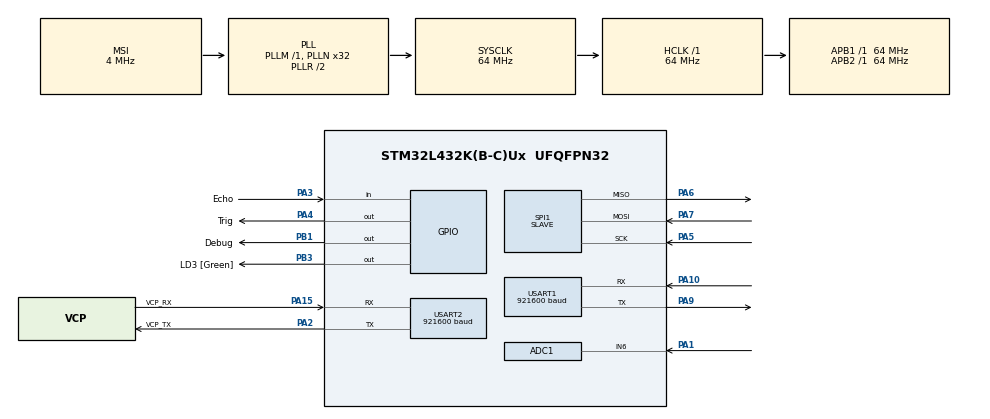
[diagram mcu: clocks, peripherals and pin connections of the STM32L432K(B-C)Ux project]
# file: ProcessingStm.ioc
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ADC1.Channel-0\#ChannelRegularConversion=ADC_CHANNEL_6
ADC1.NbrOfConversionFlag=1
ADC1.OffsetNumber-0\#ChannelRegularConversion=ADC_OFFSET_NONE
ADC1.Rank-0\#ChannelRegularConversion=1
ADC1.Resolution=ADC_RESOLUTION_8B
ADC1.SamplingTime-0\#ChannelRegularConversion=ADC_SAMPLETIME_2CYCLES_5
ADC1.ScanConvMode-ADC_Settings=ADC_SCAN_ENABLE
ADC1.master=1
Dma.Request0=USART2_TX
Dma.USART2_TX.0.Direction=DMA_MEMORY_TO_PERIPH
Dma.USART2_TX.0.Instance=DMA1_Channel7
Dma.USART2_TX.0.MemDataAlignment=DMA_MDATAALIGN_BYTE
Dma.USART2_TX.0.MemInc=DMA_MINC_ENABLE
Dma.USART2_TX.0.Mode=DMA_NORMAL
Dma.USART2_TX.0.PeriphDataAlignment=DMA_PDATAALIGN_BYTE
Dma.USART2_TX.0.PeriphInc=DMA_PINC_DISABLE
Dma.USART2_TX.0.Priority=DMA_PRIORITY_LOW
Mcu.Family=STM32L4
Mcu.Name=STM32L432K(B-C)Ux
Mcu.Package=UFQFPN32
NVIC.DMA1_Channel7_IRQn=true\:0\:0\:false\:false\:true\:false\:true\:true
NVIC.PriorityGroup=NVIC_PRIORITYGROUP_4
NVIC.SPI1_IRQn=true\:0\:0\:false\:false\:true\:true\:true\:true
NVIC.USART2_IRQn=true\:0\:0\:false\:false\:true\:true\:true\:true
PA0.GPIO_Label=MCO [High speed clock in]
PA0.Mode=HSE-External-Clock-Source-for-LittleOrca
PA0.Signal=RCC_CK_IN
PA1.Signal=ADCx_IN6
PA10.Mode=Asynchronous
PA10.Signal=USART1_RX
PA13\ (JTMS-SWDIO).GPIO_Label=SWDIO
PA13\ (JTMS-SWDIO).Mode=Serial_Wire
PA13\ (JTMS-SWDIO).Signal=SYS_JTMS-SWDIO
PA14\ (JTCK-SWCLK).GPIO_Label=SWCLK
PA14\ (JTCK-SWCLK).Mode=Serial_Wire
PA14\ (JTCK-SWCLK).Signal=SYS_JTCK-SWCLK
PA15\ (JTDI).GPIO_Label=VCP_RX
PA15\ (JTDI).Mode=Asynchronous
PA15\ (JTDI).Signal=USART2_RX
PA2.GPIO_Label=VCP_TX
PA2.Mode=Asynchronous
PA2.Signal=USART2_TX
PA3.GPIO_Label=Echo
PA3.Signal=GPIO_Input
PA4.GPIO_Label=Trig
PA4.Signal=GPIO_Output
PA5.Mode=Full_Duplex_Slave
PA5.Signal=SPI1_SCK
PA6.Mode=Full_Duplex_Slave
PA6.Signal=SPI1_MISO
PA7.Mode=Full_Duplex_Slave
PA7.Signal=SPI1_MOSI
PA9.Mode=Asynchronous
PA9.Signal=USART1_TX
PB1.GPIO_Label=Debug
PB1.Signal=GPIO_Output
PB3\ (JTDO-TRACESWO).GPIO_Label=LD3 [Green]
PB3\ (JTDO-TRACESWO).Signal=GPIO_Output
PC14-OSC32_IN\ (PC14).Mode=LSE-External-Oscillator
PC14-OSC32_IN\ (PC14).Signal=RCC_OSC32_IN
PC15-OSC32_OUT\ (PC15).Mode=LSE-External-Oscillator
PC15-OSC32_OUT\ (PC15).Signal=RCC_OSC32_OUT
ProjectManager.HeapSize=0x200
ProjectManager.StackSize=0x400
ProjectManager.TargetToolchain=STM32CubeIDE
RCC.ADCFreq_Value=32000000
RCC.AHBFreq_Value=64000000
RCC.APB1Freq_Value=64000000
RCC.APB1TimFreq_Value=64000000
RCC.APB2Freq_Value=64000000
RCC.APB2TimFreq_Value=64000000
RCC.CortexFreq_Value=64000000
RCC.HCLKFreq_Value=64000000
RCC.HSE_VALUE=8000000
RCC.HSI16_VALUE=16000000
RCC.HSI48_VALUE=48000000
RCC.HSI_VALUE=16000000
RCC.MSI_VALUE=4000000
RCC.PLLMUL=RCC_PLLMUL_4
RCC.PLLN=32
RCC.PLLSAI1N=16
RCC.SYSCLKFreq_VALUE=64000000
RCC.SYSCLKSource=RCC_SYSCLKSOURCE_PLLCLK
RCC.USBFreq_Value=32000000
RCC.VCOOutputFreq_Value=128000000
SH.ADCx_IN6.0=ADC1_IN6,IN6-Single-Ended
SPI1.DataSize=SPI_DATASIZE_8BIT
SPI1.Direction=SPI_DIRECTION_2LINES
SPI1.Mode=SPI_MODE_SLAVE
SPI1.VirtualType=VM_SLAVE
TIM16.Prescaler=31
USART1.BaudRate=921600
USART1.VirtualMode-Asynchronous=VM_ASYNC
USART2.BaudRate=921600
USART2.VirtualMode-Asynchronous=VM_ASYNC
VP_TIM16_VS_ClockSourceINT.Mode=Enable_Timer
board=NUCLEO-L432KC

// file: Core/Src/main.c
/* USER CODE BEGIN Header */
/**
  ******************************************************************************
  * @file           : main.c
  * @brief          : Main program body
  ******************************************************************************
  * @attention
  *
  * Copyright (c) 2025 STMicroelectronics.
  * All rights reserved.
  *
  * This software is licensed under terms that can be found in the LICENSE file
  * in the root directory of this software component.
  * If no LICENSE file comes with this software, it is provided AS-IS.
  *
  ******************************************************************************
  */
/* USER CODE END Header */
#include "main.h"

ADC_HandleTypeDef hadc1;

SPI_HandleTypeDef hspi1;

TIM_HandleTypeDef htim16;

UART_HandleTypeDef huart1;
UART_HandleTypeDef huart2;
DMA_HandleTypeDef hdma_usart2_tx;

void SystemClock_Config(void);
static void MX_GPIO_Init(void);
static void MX_DMA_Init(void);
static void MX_USART2_UART_Init(void);
static void MX_USART1_UART_Init(void);
static void MX_ADC1_Init(void);
static void MX_TIM16_Init(void);
static void MX_SPI1_Init(void);

/* USER CODE BEGIN 0 */

uint8_t rxBuffer[1] = {0};
uint8_t prevBuffer[3] = {0};

uint8_t rxBuffer2[3] = {0};

uint16_t sample;

uint8_t operatingMode = 1; // 1 = manual triggering, 2 = distance triggering

uint8_t distanceSetting = 10; // init to 10

uint8_t distanceSend = 0;

#define MANUAL_MODE 0x8F
#define DISTANCE_MODE 0x90

void HAL_UART_RxCpltCallback(UART_HandleTypeDef *huart)
{
	if (huart->Instance == USART1)
	{
		/*HAL_UART_Transmit(&huart2, rxBuffer, 1, HAL_MAX_DELAY);
		HAL_UART_Receive_IT(&huart1, rxBuffer, 1);*/
	}
	else if (huart->Instance == USART2)
	{
		//HAL_GPIO_TogglePin(LD3_GPIO_Port, LD3_Pin);

		if (rxBuffer2[1] == DISTANCE_MODE)
		{
			distanceSetting = rxBuffer2[2];
			operatingMode = 2;
		}

		else if (rxBuffer2[1] == MANUAL_MODE)
		{
			operatingMode = 1;
		}

		HAL_UART_Receive_IT(&huart2, rxBuffer2, 3);

	}
}
uint8_t sendBuffer;
uint8_t uartReady = 1;

void HAL_UART_TxCpltCallback(UART_HandleTypeDef *huart)
{

	//HAL_GPIO_TogglePin(LD3_GPIO_Port, LD3_Pin);
	/*sendBuffer = (prevBuffer[0] + prevBuffer[1] + prevBuffer[2] + rxBuffer[0])/4; // average last four samples
	prevBuffer[2] = prevBuffer[1];
	prevBuffer[1] = prevBuffer[0];
	prevBuffer[0] = rxBuffer[0];*/

	sendBuffer = (prevBuffer[0] + rxBuffer[0])/2; // average last four samples
		prevBuffer[0] = rxBuffer[0];

	uartReady = 1;
}

void HAL_SPI_RxCpltCallback(SPI_HandleTypeDef * hspi)
{
	Debug_GPIO_Port->ODR ^= Debug_Pin;

	if (rxBuffer[0] < 100 || rxBuffer[0] > 3000)
	{
		HAL_SPI_Receive_IT(&hspi1, rxBuffer, 1);
		return;
	}

	if (operatingMode == 2 && uartReady)
	{
		//sendBuffer[0] = rxBuffer[0] * distanceSend;
		//sendBuffer[1] = rxBuffer[1] * distanceSend;
		uartReady = 0;
		sendBuffer *= distanceSend;
		HAL_UART_Transmit_IT(&huart2, &sendBuffer, 1);
	}

	else
	{
		HAL_UART_Transmit_IT(&huart2, &sendBuffer, 1);
	}
	//HAL_GPIO_TogglePin(LD3_GPIO_Port,LD3_Pin);
	HAL_SPI_Receive_IT(&hspi1, rxBuffer, 1);
}

/* USER CODE END 0 */

int main(void)
{

  /* MCU Configuration--------------------------------------------------------*/

  /* Reset of all peripherals, Initializes the Flash interface and the Systick. */
  HAL_Init();

  /* Configure the system clock */
  SystemClock_Config();

  /* Initialize all configured peripherals */
  MX_GPIO_Init();
  MX_DMA_Init();
  MX_USART2_UART_Init();
  MX_USART1_UART_Init();
  MX_ADC1_Init();
  MX_TIM16_Init();
  MX_SPI1_Init();
  /* USER CODE BEGIN 2 */

  //HAL_UART_Receive_IT (&huart1, rxBuffer, 1);
  HAL_SPI_Receive_IT(&hspi1, rxBuffer, 1);
  HAL_UART_Receive_IT (&huart2, rxBuffer2, 3);

  /* USER CODE END 2 */

  /* Infinite loop */
  /* USER CODE BEGIN WHILE */

  uint16_t period;
  uint16_t distance;
  HAL_TIM_Base_Start(&htim16);

  while (1)
  {
    /* USER CODE END WHILE */

    /* USER CODE BEGIN 3 */
	  // Task 2
	  if (operatingMode == 2)
	  {
	  	  __HAL_TIM_SET_COUNTER(&htim16,0);
	  	  HAL_GPIO_WritePin(Trig_GPIO_Port,Trig_Pin,1);
	  	  while (__HAL_TIM_GET_COUNTER(&htim16)<10);

	  	  HAL_GPIO_WritePin(Trig_GPIO_Port,Trig_Pin,0);

	  	  while (HAL_GPIO_ReadPin(Echo_GPIO_Port,Echo_Pin)==0);

	  	  __HAL_TIM_SET_COUNTER(&htim16,0);

	  	  while (HAL_GPIO_ReadPin(Echo_GPIO_Port,Echo_Pin)==1);

	  	  period = __HAL_TIM_GET_COUNTER(&htim16);

	  	  distance = period/58.3;

	  	  if (distance < distanceSetting){
	  		  distanceSend = 1;
	  		  HAL_GPIO_WritePin(LD3_GPIO_Port,LD3_Pin,1);

	  	  }else{
	  		  distanceSend = 0;
	  		  HAL_GPIO_WritePin(LD3_GPIO_Port,LD3_Pin,0);
	  	  }

	  	  HAL_Delay(60);
	  }
	  else if (operatingMode == 1)
	  {
		  //HAL_GPIO_WritePin(LD3_GPIO_Port, LD3_Pin, 1);
	  }
  }
  /* USER CODE END 3 */
}

void SystemClock_Config(void)
{
  RCC_OscInitTypeDef RCC_OscInitStruct = {0};
  RCC_ClkInitTypeDef RCC_ClkInitStruct = {0};

  /** Configure the main internal regulator output voltage
  */
  if (HAL_PWREx_ControlVoltageScaling(PWR_REGULATOR_VOLTAGE_SCALE1) != HAL_OK)
  {
    Error_Handler();
  }

  /** Configure LSE Drive Capability
  */
  HAL_PWR_EnableBkUpAccess();
  __HAL_RCC_LSEDRIVE_CONFIG(RCC_LSEDRIVE_LOW);

  /** Initializes the RCC Oscillators according to the specified parameters
  * in the RCC_OscInitTypeDef structure.
  */
  RCC_OscInitStruct.OscillatorType = RCC_OSCILLATORTYPE_LSE|RCC_OSCILLATORTYPE_MSI;
  RCC_OscInitStruct.LSEState = RCC_LSE_ON;
  RCC_OscInitStruct.MSIState = RCC_MSI_ON;
  RCC_OscInitStruct.MSICalibrationValue = 0;
  RCC_OscInitStruct.MSIClockRange = RCC_MSIRANGE_6;
  RCC_OscInitStruct.PLL.PLLState = RCC_PLL_ON;
  RCC_OscInitStruct.PLL.PLLSource = RCC_PLLSOURCE_MSI;
  RCC_OscInitStruct.PLL.PLLM = 1;
  RCC_OscInitStruct.PLL.PLLN = 32;
  RCC_OscInitStruct.PLL.PLLP = RCC_PLLP_DIV7;
  RCC_OscInitStruct.PLL.PLLQ = RCC_PLLQ_DIV2;
  RCC_OscInitStruct.PLL.PLLR = RCC_PLLR_DIV2;
  if (HAL_RCC_OscConfig(&RCC_OscInitStruct) != HAL_OK)
  {
    Error_Handler();
  }

  /** Initializes the CPU, AHB and APB buses clocks
  */
  RCC_ClkInitStruct.ClockType = RCC_CLOCKTYPE_HCLK|RCC_CLOCKTYPE_SYSCLK
                              |RCC_CLOCKTYPE_PCLK1|RCC_CLOCKTYPE_PCLK2;
  RCC_ClkInitStruct.SYSCLKSource = RCC_SYSCLKSOURCE_PLLCLK;
  RCC_ClkInitStruct.AHBCLKDivider = RCC_SYSCLK_DIV1;
  RCC_ClkInitStruct.APB1CLKDivider = RCC_HCLK_DIV1;
  RCC_ClkInitStruct.APB2CLKDivider = RCC_HCLK_DIV1;

  if (HAL_RCC_ClockConfig(&RCC_ClkInitStruct, FLASH_LATENCY_3) != HAL_OK)
  {
    Error_Handler();
  }

  /** Enable MSI Auto calibration
  */
  HAL_RCCEx_EnableMSIPLLMode();
}

static void MX_ADC1_Init(void)
{

  ADC_ChannelConfTypeDef sConfig = {0};

  /** Common config
  */
  hadc1.Instance = ADC1;
  hadc1.Init.ClockPrescaler = ADC_CLOCK_ASYNC_DIV1;
  hadc1.Init.Resolution = ADC_RESOLUTION_8B;
  hadc1.Init.DataAlign = ADC_DATAALIGN_RIGHT;
  hadc1.Init.ScanConvMode = ADC_SCAN_DISABLE;
  hadc1.Init.EOCSelection = ADC_EOC_SINGLE_CONV;
  hadc1.Init.LowPowerAutoWait = DISABLE;
  hadc1.Init.ContinuousConvMode = DISABLE;
  hadc1.Init.NbrOfConversion = 1;
  hadc1.Init.DiscontinuousConvMode = DISABLE;
  hadc1.Init.ExternalTrigConv = ADC_SOFTWARE_START;
  hadc1.Init.ExternalTrigConvEdge = ADC_EXTERNALTRIGCONVEDGE_NONE;
  hadc1.Init.DMAContinuousRequests = DISABLE;
  hadc1.Init.Overrun = ADC_OVR_DATA_PRESERVED;
  hadc1.Init.OversamplingMode = DISABLE;
  if (HAL_ADC_Init(&hadc1) != HAL_OK)
  {
    Error_Handler();
  }

  /** Configure Regular Channel
  */
  sConfig.Channel = ADC_CHANNEL_6;
  sConfig.Rank = ADC_REGULAR_RANK_1;
  sConfig.SamplingTime = ADC_SAMPLETIME_2CYCLES_5;
  sConfig.SingleDiff = ADC_SINGLE_ENDED;
  sConfig.OffsetNumber = ADC_OFFSET_NONE;
  sConfig.Offset = 0;
  if (HAL_ADC_ConfigChannel(&hadc1, &sConfig) != HAL_OK)
  {
    Error_Handler();
  }

}

static void MX_SPI1_Init(void)
{

  /* SPI1 parameter configuration*/
  hspi1.Instance = SPI1;
  hspi1.Init.Mode = SPI_MODE_SLAVE;
  hspi1.Init.Direction = SPI_DIRECTION_2LINES;
  hspi1.Init.DataSize = SPI_DATASIZE_8BIT;
  hspi1.Init.CLKPolarity = SPI_POLARITY_LOW;
  hspi1.Init.CLKPhase = SPI_PHASE_1EDGE;
  hspi1.Init.NSS = SPI_NSS_SOFT;
  hspi1.Init.FirstBit = SPI_FIRSTBIT_MSB;
  hspi1.Init.TIMode = SPI_TIMODE_DISABLE;
  hspi1.Init.CRCCalculation = SPI_CRCCALCULATION_DISABLE;
  hspi1.Init.CRCPolynomial = 7;
  hspi1.Init.CRCLength = SPI_CRC_LENGTH_DATASIZE;
  hspi1.Init.NSSPMode = SPI_NSS_PULSE_DISABLE;
  if (HAL_SPI_Init(&hspi1) != HAL_OK)
  {
    Error_Handler();
  }

}

static void MX_TIM16_Init(void)
{

  htim16.Instance = TIM16;
  htim16.Init.Prescaler = 31;
  htim16.Init.CounterMode = TIM_COUNTERMODE_UP;
  htim16.Init.Period = 65535;
  htim16.Init.ClockDivision = TIM_CLOCKDIVISION_DIV1;
  htim16.Init.RepetitionCounter = 0;
  htim16.Init.AutoReloadPreload = TIM_AUTORELOAD_PRELOAD_DISABLE;
  if (HAL_TIM_Base_Init(&htim16) != HAL_OK)
  {
    Error_Handler();
  }

}

static void MX_USART1_UART_Init(void)
{

  huart1.Instance = USART1;
  huart1.Init.BaudRate = 921600;
  huart1.Init.WordLength = UART_WORDLENGTH_8B;
  huart1.Init.StopBits = UART_STOPBITS_1;
  huart1.Init.Parity = UART_PARITY_NONE;
  huart1.Init.Mode = UART_MODE_TX_RX;
  huart1.Init.HwFlowCtl = UART_HWCONTROL_NONE;
  huart1.Init.OverSampling = UART_OVERSAMPLING_16;
  huart1.Init.OneBitSampling = UART_ONE_BIT_SAMPLE_DISABLE;
  huart1.AdvancedInit.AdvFeatureInit = UART_ADVFEATURE_NO_INIT;
  if (HAL_UART_Init(&huart1) != HAL_OK)
  {
    Error_Handler();
  }

}

static void MX_USART2_UART_Init(void)
{

  huart2.Instance = USART2;
  huart2.Init.BaudRate = 921600;
  huart2.Init.WordLength = UART_WORDLENGTH_8B;
  huart2.Init.StopBits = UART_STOPBITS_1;
  huart2.Init.Parity = UART_PARITY_NONE;
  huart2.Init.Mode = UART_MODE_TX_RX;
  huart2.Init.HwFlowCtl = UART_HWCONTROL_NONE;
  huart2.Init.OverSampling = UART_OVERSAMPLING_16;
  huart2.Init.OneBitSampling = UART_ONE_BIT_SAMPLE_DISABLE;
  huart2.AdvancedInit.AdvFeatureInit = UART_ADVFEATURE_NO_INIT;
  if (HAL_UART_Init(&huart2) != HAL_OK)
  {
    Error_Handler();
  }

}

static void MX_DMA_Init(void)
{

  /* DMA controller clock enable */
  __HAL_RCC_DMA1_CLK_ENABLE();

  /* DMA interrupt init */
  /* DMA1_Channel7_IRQn interrupt configuration */
  HAL_NVIC_SetPriority(DMA1_Channel7_IRQn, 0, 0);
  HAL_NVIC_EnableIRQ(DMA1_Channel7_IRQn);

}

static void MX_GPIO_Init(void)
{
  GPIO_InitTypeDef GPIO_InitStruct = {0};

  /* GPIO Ports Clock Enable */
  __HAL_RCC_GPIOC_CLK_ENABLE();
  __HAL_RCC_GPIOA_CLK_ENABLE();
  __HAL_RCC_GPIOB_CLK_ENABLE();

  /*Configure GPIO pin Output Level */
  HAL_GPIO_WritePin(Trig_GPIO_Port, Trig_Pin, GPIO_PIN_RESET);

  /*Configure GPIO pin Output Level */
  HAL_GPIO_WritePin(GPIOB, Debug_Pin|LD3_Pin, GPIO_PIN_RESET);

  /*Configure GPIO pin : Echo_Pin */
  GPIO_InitStruct.Pin = Echo_Pin;
  GPIO_InitStruct.Mode = GPIO_MODE_INPUT;
  GPIO_InitStruct.Pull = GPIO_NOPULL;
  HAL_GPIO_Init(Echo_GPIO_Port, &GPIO_InitStruct);

  /*Configure GPIO pin : Trig_Pin */
  GPIO_InitStruct.Pin = Trig_Pin;
  GPIO_InitStruct.Mode = GPIO_MODE_OUTPUT_PP;
  GPIO_InitStruct.Pull = GPIO_NOPULL;
  GPIO_InitStruct.Speed = GPIO_SPEED_FREQ_LOW;
  HAL_GPIO_Init(Trig_GPIO_Port, &GPIO_InitStruct);

  /*Configure GPIO pins : Debug_Pin LD3_Pin */
  GPIO_InitStruct.Pin = Debug_Pin|LD3_Pin;
  GPIO_InitStruct.Mode = GPIO_MODE_OUTPUT_PP;
  GPIO_InitStruct.Pull = GPIO_NOPULL;
  GPIO_InitStruct.Speed = GPIO_SPEED_FREQ_LOW;
  HAL_GPIO_Init(GPIOB, &GPIO_InitStruct);

  /* USER CODE BEGIN MX_GPIO_Init_2 */
  GPIO_InitStruct.Pin = GPIO_PIN_5 | GPIO_PIN_6 | GPIO_PIN_7;
    GPIO_InitStruct.Mode = GPIO_MODE_AF_PP;
    GPIO_InitStruct.Pull = GPIO_NOPULL;
    GPIO_InitStruct.Speed = GPIO_SPEED_FREQ_HIGH;
    HAL_GPIO_Init(GPIOA, &GPIO_InitStruct);
  /* USER CODE END MX_GPIO_Init_2 */
}

void Error_Handler(void)
{
  __disable_irq();
  while (1)
  {
  }
}
